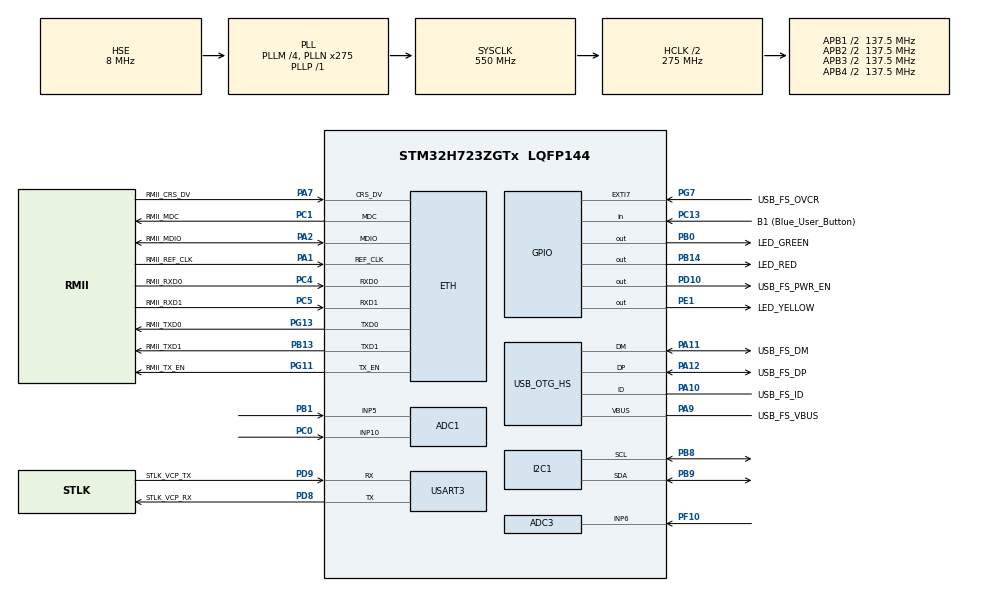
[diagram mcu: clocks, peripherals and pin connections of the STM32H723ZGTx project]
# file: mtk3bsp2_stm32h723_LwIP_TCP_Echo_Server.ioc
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ADC1.Channel-0\#ChannelRegularConversion=ADC_CHANNEL_5
ADC1.NbrOfConversionFlag=1
ADC1.OffsetNumber-0\#ChannelRegularConversion=ADC_OFFSET_NONE
ADC1.OffsetSignedSaturation-0\#ChannelRegularConversion=DISABLE
ADC1.Rank-0\#ChannelRegularConversion=1
ADC1.SamplingTime-0\#ChannelRegularConversion=ADC_SAMPLETIME_1CYCLE_5
ADC1.master=1
ADC3.Channel-0\#ChannelRegularConversion=ADC_CHANNEL_6
ADC3.NbrOfConversionFlag=1
ADC3.OffsetNumber-0\#ChannelRegularConversion=ADC_OFFSET_NONE
ADC3.OffsetSign-0\#ChannelRegularConversion=ADC3_OFFSET_SIGN_NEGATIVE
ADC3.Rank-0\#ChannelRegularConversion=1
ADC3.SamplingTime-0\#ChannelRegularConversion=ADC3_SAMPLETIME_2CYCLES_5
ETH.MediaInterface=HAL_ETH_RMII_MODE
I2C1.Timing=0x60404E72
Mcu.Family=STM32H7
Mcu.Name=STM32H723ZGTx
Mcu.Package=LQFP144
NVIC.ADC3_IRQn=true\:10\:0\:true\:false\:true\:true\:true\:true
NVIC.ADC_IRQn=true\:10\:0\:true\:false\:true\:true\:true\:true
NVIC.I2C1_ER_IRQn=true\:10\:0\:true\:false\:true\:true\:true\:true
NVIC.I2C1_EV_IRQn=true\:10\:0\:true\:false\:true\:true\:true\:true
NVIC.PriorityGroup=NVIC_PRIORITYGROUP_4
PA1.GPIO_Label=RMII_REF_CLK
PA1.Mode=RMII
PA1.Signal=ETH_REF_CLK
PA10.GPIO_Label=USB_FS_ID
PA10.Mode=OTG/Dual-Role-Device-FS
PA10.Signal=USB_OTG_HS_ID
PA11.GPIO_Label=USB_FS_DM
PA11.Mode=OTG/Dual-Role-Device-FS
PA11.Signal=USB_OTG_HS_DM
PA12.GPIO_Label=USB_FS_DP
PA12.Mode=OTG/Dual-Role-Device-FS
PA12.Signal=USB_OTG_HS_DP
PA13(JTMS/SWDIO).GPIO_Label=SWDIO
PA13(JTMS/SWDIO).Mode=Trace_Asynchronous_SW
PA13(JTMS/SWDIO).Signal=DEBUG_JTMS-SWDIO
PA14(JTCK/SWCLK).GPIO_Label=SWCLK
PA14(JTCK/SWCLK).Mode=Trace_Asynchronous_SW
PA14(JTCK/SWCLK).Signal=DEBUG_JTCK-SWCLK
PA2.GPIO_Label=RMII_MDIO
PA2.Mode=RMII
PA2.Signal=ETH_MDIO
PA7.GPIO_Label=RMII_CRS_DV
PA7.Mode=RMII
PA7.Signal=ETH_CRS_DV
PA9.GPIO_Label=USB_FS_VBUS
PA9.Mode=Activate_VBUS_FS
PA9.Signal=USB_OTG_HS_VBUS
PB0.GPIO_Label=LED_GREEN
PB0.Signal=GPIO_Output
PB1.Signal=ADCx_INP5
PB13.GPIO_Label=RMII_TXD1
PB13.Mode=RMII
PB13.Signal=ETH_TXD1
PB14.GPIO_Label=LED_RED
PB14.Signal=GPIO_Output
PB3(JTDO/TRACESWO).GPIO_Label=SWO
PB3(JTDO/TRACESWO).Mode=Trace_Asynchronous_SW
PB3(JTDO/TRACESWO).Signal=DEBUG_JTDO-SWO
PB8.Mode=I2C
PB8.Signal=I2C1_SCL
PB9.Mode=I2C
PB9.Signal=I2C1_SDA
PC0.Signal=ADCx_INP10
PC1.GPIO_Label=RMII_MDC
PC1.Mode=RMII
PC1.Signal=ETH_MDC
PC13.GPIO_Label=B1 (Blue_User_Button)
PC13.Signal=GPIO_Input
PC14-OSC32_IN.Mode=LSE-External-Oscillator
PC14-OSC32_IN.Signal=RCC_OSC32_IN
PC15-OSC32_OUT.Mode=LSE-External-Oscillator
PC15-OSC32_OUT.Signal=RCC_OSC32_OUT
PC4.GPIO_Label=RMII_RXD0
PC4.Mode=RMII
PC4.Signal=ETH_RXD0
PC5.GPIO_Label=RMII_RXD1
PC5.Mode=RMII
PC5.Signal=ETH_RXD1
PD10.GPIO_Label=USB_FS_PWR_EN
PD10.Signal=GPIO_Output
PD8.GPIO_Label=STLK_VCP_RX
PD8.Mode=Asynchronous
PD8.Signal=USART3_TX
PD9.GPIO_Label=STLK_VCP_TX
PD9.Mode=Asynchronous
PD9.Signal=USART3_RX
PE1.GPIO_Label=LED_YELLOW
PE1.Signal=GPIO_Output
PF10.Mode=IN6-Single-Ended
PF10.Signal=ADC3_INP6
PG11.GPIO_Label=RMII_TX_EN
PG11.Mode=RMII
PG11.Signal=ETH_TX_EN
PG13.GPIO_Label=RMII_TXD0
PG13.Mode=RMII
PG13.Signal=ETH_TXD0
PG7.GPIO_Label=USB_FS_OVCR
PG7.Signal=GPXTI7
PH0-OSC_IN.GPIO_Label=MCO
PH0-OSC_IN.Mode=HSE-External-Clock-Source
PH0-OSC_IN.Signal=RCC_OSC_IN
PH1-OSC_OUT.Signal=RCC_OSC_OUT
ProjectManager.HeapSize=0x200
ProjectManager.StackSize=0x400
ProjectManager.TargetToolchain=STM32CubeIDE
RCC.ADCFreq_Value=96000000
RCC.APB1Freq_Value=137500000
RCC.APB2Freq_Value=137500000
RCC.APB3Freq_Value=137500000
RCC.APB4Freq_Value=137500000
RCC.CortexFreq_Value=550000000
RCC.D1PPRE=RCC_APB3_DIV2
RCC.D2PPRE1=RCC_APB1_DIV2
RCC.D2PPRE2=RCC_APB2_DIV2
RCC.D3PPRE=RCC_APB4_DIV2
RCC.DIVM1=4
RCC.DIVM2=1
RCC.DIVN1=275
RCC.DIVN2=24
RCC.DIVP1=1
RCC.DIVQ1=4
RCC.HCLKFreq_Value=275000000
RCC.HPRE=RCC_HCLK_DIV2
RCC.HSE_VALUE=8000000
RCC.PLLFRACN=0
RCC.PLLSourceVirtual=RCC_PLLSOURCE_HSE
RCC.SYSCLKFreq_VALUE=550000000
RCC.SYSCLKSource=RCC_SYSCLKSOURCE_PLLCLK
RCC.USBCLockSelection=RCC_USBCLKSOURCE_HSI48
RCC.USBFreq_Value=48000000
SH.ADCx_INP10.0=ADC1_INP10,IN10-Single-Ended
SH.ADCx_INP5.0=ADC1_INP5,IN5-Single-Ended
USART3.VirtualMode-Asynchronous=VM_ASYNC
board=NUCLEO-H723ZG

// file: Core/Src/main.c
/* USER CODE BEGIN Header */
/**
  ******************************************************************************
  * @file           : main.c
  * @brief          : Main program body
  ******************************************************************************
  * @attention
  *
  * Copyright (c) 2024 STMicroelectronics.
  * All rights reserved.
  *
  * This software is licensed under terms that can be found in the LICENSE file
  * in the root directory of this software component.
  * If no LICENSE file comes with this software, it is provided AS-IS.
  *
  ******************************************************************************
  */
/* USER CODE END Header */
#include "main.h"
#include "string.h"

/* USER CODE BEGIN Includes */
#include "lwip/opt.h"
#include "lwip/init.h"
#include "netif/etharp.h"
#include "lwip/netif.h"
#include "lwip/timeouts.h"
#if LWIP_DHCP
#include "lwip/dhcp.h"
#endif
#include "ethernetif.h"
#include "main.h"
#include "app_ethernet.h"
#include "tcp_echoserver.h"
/* USER CODE END Includes */

#if defined ( __ICCARM__ ) /*!< IAR Compiler */
#pragma location=0x30000000
ETH_DMADescTypeDef  DMARxDscrTab[ETH_RX_DESC_CNT]; /* Ethernet Rx DMA Descriptors */
#pragma location=0x30000200
ETH_DMADescTypeDef  DMATxDscrTab[ETH_TX_DESC_CNT]; /* Ethernet Tx DMA Descriptors */

#elif defined ( __CC_ARM )  /* MDK ARM Compiler */

__attribute__((at(0x30000000))) ETH_DMADescTypeDef  DMARxDscrTab[ETH_RX_DESC_CNT]; /* Ethernet Rx DMA Descriptors */
__attribute__((at(0x30000200))) ETH_DMADescTypeDef  DMATxDscrTab[ETH_TX_DESC_CNT]; /* Ethernet Tx DMA Descriptors */

#elif defined ( __GNUC__ ) /* GNU Compiler */
//ETH_DMADescTypeDef DMARxDscrTab[ETH_RX_DESC_CNT] __attribute__((section(".RxDecripSection"))); /* Ethernet Rx DMA Descriptors */
//ETH_DMADescTypeDef DMATxDscrTab[ETH_TX_DESC_CNT] __attribute__((section(".TxDecripSection")));   /* Ethernet Tx DMA Descriptors */

#endif

//ETH_TxPacketConfig TxConfig;

ADC_HandleTypeDef hadc1;
ADC_HandleTypeDef hadc3;

ETH_HandleTypeDef heth;

I2C_HandleTypeDef hi2c1;

UART_HandleTypeDef huart3;

/* USER CODE BEGIN PV */
struct netif gnetif;
/* USER CODE END PV */

void SystemClock_Config(void);
void PeriphCommonClock_Config(void);
static void MX_GPIO_Init(void);
static void MX_ETH_Init(void);
static void MX_USART3_UART_Init(void);
static void MX_USB_OTG_HS_USB_Init(void);
static void MX_ADC1_Init(void);
static void MX_ADC3_Init(void);
static void MX_I2C1_Init(void);
/* USER CODE BEGIN PFP */
static void Netif_Config(void);
static void CPU_CACHE_Enable(void);
/* USER CODE END PFP */

/* USER CODE BEGIN 0 */
void knl_start_mtkernel(void);
/* USER CODE END 0 */

int main(void)
{
  /* USER CODE BEGIN 1 */
  /* Enable the CPU Cache */
  CPU_CACHE_Enable();
  /* USER CODE END 1 */

  /* MCU Configuration--------------------------------------------------------*/

  /* Reset of all peripherals, Initializes the Flash interface and the Systick. */
  HAL_Init();

  /* Configure the system clock */
  SystemClock_Config();

/* Configure the peripherals common clocks */
  PeriphCommonClock_Config();

  /* Initialize all configured peripherals */
  MX_GPIO_Init();
//  MX_ETH_Init();
  MX_USART3_UART_Init();
  MX_USB_OTG_HS_USB_Init();
  MX_ADC1_Init();
  MX_ADC3_Init();
  MX_I2C1_Init();
  /* USER CODE BEGIN 2 */
  /* Initialize the LwIP stack */
  lwip_init();

  /* Configure the Network interface */
  Netif_Config();

  /* TCP echo server Init */
  tcp_echoserver_init();

  while (1) {
	  /* Read a received packet from the Ethernet buffers and send it
		 to the lwIP for handling */
	  ethernetif_input(&gnetif);

	  /* Handle timeouts */
	  sys_check_timeouts();

#if LWIP_NETIF_LINK_CALLBACK
	  Ethernet_Link_Periodic_Handle(&gnetif);
#endif

#if LWIP_DHCP
	  DHCP_Periodic_Handle(&gnetif);
#endif
  }

  knl_start_mtkernel();
  /* USER CODE END 2 */

  /* Infinite loop */
  while (1)
  {

  }
}

void SystemClock_Config(void)
{
  RCC_OscInitTypeDef RCC_OscInitStruct = {0};
  RCC_ClkInitTypeDef RCC_ClkInitStruct = {0};

  /** Supply configuration update enable
  */
  HAL_PWREx_ConfigSupply(PWR_LDO_SUPPLY);

  /** Configure the main internal regulator output voltage
  */
  __HAL_PWR_VOLTAGESCALING_CONFIG(PWR_REGULATOR_VOLTAGE_SCALE0);

  while(!__HAL_PWR_GET_FLAG(PWR_FLAG_VOSRDY)) {}

  /** Initializes the RCC Oscillators according to the specified parameters
  * in the RCC_OscInitTypeDef structure.
  */
  RCC_OscInitStruct.OscillatorType = RCC_OSCILLATORTYPE_HSI48|RCC_OSCILLATORTYPE_HSE;
  RCC_OscInitStruct.HSEState = RCC_HSE_BYPASS;
  RCC_OscInitStruct.HSI48State = RCC_HSI48_ON;
  RCC_OscInitStruct.PLL.PLLState = RCC_PLL_ON;
  RCC_OscInitStruct.PLL.PLLSource = RCC_PLLSOURCE_HSE;
  RCC_OscInitStruct.PLL.PLLM = 4;
  RCC_OscInitStruct.PLL.PLLN = 275;
  RCC_OscInitStruct.PLL.PLLP = 1;
  RCC_OscInitStruct.PLL.PLLQ = 4;
  RCC_OscInitStruct.PLL.PLLR = 2;
  RCC_OscInitStruct.PLL.PLLRGE = RCC_PLL1VCIRANGE_1;
  RCC_OscInitStruct.PLL.PLLVCOSEL = RCC_PLL1VCOWIDE;
  RCC_OscInitStruct.PLL.PLLFRACN = 0;
  if (HAL_RCC_OscConfig(&RCC_OscInitStruct) != HAL_OK)
  {
    Error_Handler();
  }

  /** Initializes the CPU, AHB and APB buses clocks
  */
  RCC_ClkInitStruct.ClockType = RCC_CLOCKTYPE_HCLK|RCC_CLOCKTYPE_SYSCLK
                              |RCC_CLOCKTYPE_PCLK1|RCC_CLOCKTYPE_PCLK2
                              |RCC_CLOCKTYPE_D3PCLK1|RCC_CLOCKTYPE_D1PCLK1;
  RCC_ClkInitStruct.SYSCLKSource = RCC_SYSCLKSOURCE_PLLCLK;
  RCC_ClkInitStruct.SYSCLKDivider = RCC_SYSCLK_DIV1;
  RCC_ClkInitStruct.AHBCLKDivider = RCC_HCLK_DIV2;
  RCC_ClkInitStruct.APB3CLKDivider = RCC_APB3_DIV2;
  RCC_ClkInitStruct.APB1CLKDivider = RCC_APB1_DIV2;
  RCC_ClkInitStruct.APB2CLKDivider = RCC_APB2_DIV2;
  RCC_ClkInitStruct.APB4CLKDivider = RCC_APB4_DIV2;

  if (HAL_RCC_ClockConfig(&RCC_ClkInitStruct, FLASH_LATENCY_3) != HAL_OK)
  {
    Error_Handler();
  }
}

void PeriphCommonClock_Config(void)
{
  RCC_PeriphCLKInitTypeDef PeriphClkInitStruct = {0};

  /** Initializes the peripherals clock
  */
  PeriphClkInitStruct.PeriphClockSelection = RCC_PERIPHCLK_ADC;
  PeriphClkInitStruct.PLL2.PLL2M = 1;
  PeriphClkInitStruct.PLL2.PLL2N = 24;
  PeriphClkInitStruct.PLL2.PLL2P = 2;
  PeriphClkInitStruct.PLL2.PLL2Q = 2;
  PeriphClkInitStruct.PLL2.PLL2R = 2;
  PeriphClkInitStruct.PLL2.PLL2RGE = RCC_PLL2VCIRANGE_3;
  PeriphClkInitStruct.PLL2.PLL2VCOSEL = RCC_PLL2VCOWIDE;
  PeriphClkInitStruct.PLL2.PLL2FRACN = 0;
  PeriphClkInitStruct.AdcClockSelection = RCC_ADCCLKSOURCE_PLL2;
  if (HAL_RCCEx_PeriphCLKConfig(&PeriphClkInitStruct) != HAL_OK)
  {
    Error_Handler();
  }
}

static void MX_ADC1_Init(void)
{

  ADC_MultiModeTypeDef multimode = {0};
  ADC_ChannelConfTypeDef sConfig = {0};

  /** Common config
  */
  hadc1.Instance = ADC1;
  hadc1.Init.ClockPrescaler = ADC_CLOCK_ASYNC_DIV1;
  hadc1.Init.Resolution = ADC_RESOLUTION_16B;
  hadc1.Init.ScanConvMode = ADC_SCAN_DISABLE;
  hadc1.Init.EOCSelection = ADC_EOC_SINGLE_CONV;
  hadc1.Init.LowPowerAutoWait = DISABLE;
  hadc1.Init.ContinuousConvMode = DISABLE;
  hadc1.Init.NbrOfConversion = 1;
  hadc1.Init.DiscontinuousConvMode = DISABLE;
  hadc1.Init.ExternalTrigConv = ADC_SOFTWARE_START;
  hadc1.Init.ExternalTrigConvEdge = ADC_EXTERNALTRIGCONVEDGE_NONE;
  hadc1.Init.ConversionDataManagement = ADC_CONVERSIONDATA_DR;
  hadc1.Init.Overrun = ADC_OVR_DATA_PRESERVED;
  hadc1.Init.LeftBitShift = ADC_LEFTBITSHIFT_NONE;
  hadc1.Init.OversamplingMode = DISABLE;
  if (HAL_ADC_Init(&hadc1) != HAL_OK)
  {
    Error_Handler();
  }

  /** Configure the ADC multi-mode
  */
  multimode.Mode = ADC_MODE_INDEPENDENT;
  if (HAL_ADCEx_MultiModeConfigChannel(&hadc1, &multimode) != HAL_OK)
  {
    Error_Handler();
  }

  /** Configure Regular Channel
  */
  sConfig.Channel = ADC_CHANNEL_5;
  sConfig.Rank = ADC_REGULAR_RANK_1;
  sConfig.SamplingTime = ADC_SAMPLETIME_1CYCLE_5;
  sConfig.SingleDiff = ADC_SINGLE_ENDED;
  sConfig.OffsetNumber = ADC_OFFSET_NONE;
  sConfig.Offset = 0;
  sConfig.OffsetSignedSaturation = DISABLE;
  if (HAL_ADC_ConfigChannel(&hadc1, &sConfig) != HAL_OK)
  {
    Error_Handler();
  }

}

static void MX_ADC3_Init(void)
{

  ADC_ChannelConfTypeDef sConfig = {0};

  /** Common config
  */
  hadc3.Instance = ADC3;
  hadc3.Init.ClockPrescaler = ADC_CLOCK_ASYNC_DIV1;
  hadc3.Init.Resolution = ADC_RESOLUTION_12B;
  hadc3.Init.DataAlign = ADC3_DATAALIGN_RIGHT;
  hadc3.Init.ScanConvMode = ADC_SCAN_DISABLE;
  hadc3.Init.EOCSelection = ADC_EOC_SINGLE_CONV;
  hadc3.Init.LowPowerAutoWait = DISABLE;
  hadc3.Init.ContinuousConvMode = DISABLE;
  hadc3.Init.NbrOfConversion = 1;
  hadc3.Init.DiscontinuousConvMode = DISABLE;
  hadc3.Init.ExternalTrigConv = ADC_SOFTWARE_START;
  hadc3.Init.ExternalTrigConvEdge = ADC_EXTERNALTRIGCONVEDGE_NONE;
  hadc3.Init.DMAContinuousRequests = DISABLE;
  hadc3.Init.SamplingMode = ADC_SAMPLING_MODE_NORMAL;
  hadc3.Init.ConversionDataManagement = ADC_CONVERSIONDATA_DR;
  hadc3.Init.Overrun = ADC_OVR_DATA_PRESERVED;
  hadc3.Init.LeftBitShift = ADC_LEFTBITSHIFT_NONE;
  hadc3.Init.OversamplingMode = DISABLE;
  if (HAL_ADC_Init(&hadc3) != HAL_OK)
  {
    Error_Handler();
  }

  /** Configure Regular Channel
  */
  sConfig.Channel = ADC_CHANNEL_6;
  sConfig.Rank = ADC_REGULAR_RANK_1;
  sConfig.SamplingTime = ADC3_SAMPLETIME_2CYCLES_5;
  sConfig.SingleDiff = ADC_SINGLE_ENDED;
  sConfig.OffsetNumber = ADC_OFFSET_NONE;
  sConfig.Offset = 0;
  sConfig.OffsetSign = ADC3_OFFSET_SIGN_NEGATIVE;
  if (HAL_ADC_ConfigChannel(&hadc3, &sConfig) != HAL_OK)
  {
    Error_Handler();
  }

}

static void MX_ETH_Init(void)
{

   static uint8_t MACAddr[6];

  heth.Instance = ETH;
  MACAddr[0] = 0x00;
  MACAddr[1] = 0x80;
  MACAddr[2] = 0xE1;
  MACAddr[3] = 0x00;
  MACAddr[4] = 0x00;
  MACAddr[5] = 0x00;
  heth.Init.MACAddr = &MACAddr[0];
  heth.Init.MediaInterface = HAL_ETH_RMII_MODE;
//  heth.Init.TxDesc = DMATxDscrTab;
//  heth.Init.RxDesc = DMARxDscrTab;
  heth.Init.RxBuffLen = 1524;

  if (HAL_ETH_Init(&heth) != HAL_OK)
  {
    Error_Handler();
  }

  /*
  memset(&TxConfig, 0 , sizeof(ETH_TxPacketConfig));
  TxConfig.Attributes = ETH_TX_PACKETS_FEATURES_CSUM | ETH_TX_PACKETS_FEATURES_CRCPAD;
  TxConfig.ChecksumCtrl = ETH_CHECKSUM_IPHDR_PAYLOAD_INSERT_PHDR_CALC;
  TxConfig.CRCPadCtrl = ETH_CRC_PAD_INSERT;
  */

}

static void MX_I2C1_Init(void)
{

  hi2c1.Instance = I2C1;
  hi2c1.Init.Timing = 0x60404E72;
  hi2c1.Init.OwnAddress1 = 0;
  hi2c1.Init.AddressingMode = I2C_ADDRESSINGMODE_7BIT;
  hi2c1.Init.DualAddressMode = I2C_DUALADDRESS_DISABLE;
  hi2c1.Init.OwnAddress2 = 0;
  hi2c1.Init.OwnAddress2Masks = I2C_OA2_NOMASK;
  hi2c1.Init.GeneralCallMode = I2C_GENERALCALL_DISABLE;
  hi2c1.Init.NoStretchMode = I2C_NOSTRETCH_DISABLE;
  if (HAL_I2C_Init(&hi2c1) != HAL_OK)
  {
    Error_Handler();
  }

  /** Configure Analogue filter
  */
  if (HAL_I2CEx_ConfigAnalogFilter(&hi2c1, I2C_ANALOGFILTER_ENABLE) != HAL_OK)
  {
    Error_Handler();
  }

  /** Configure Digital filter
  */
  if (HAL_I2CEx_ConfigDigitalFilter(&hi2c1, 0) != HAL_OK)
  {
    Error_Handler();
  }

}

static void MX_USART3_UART_Init(void)
{

  huart3.Instance = USART3;
  huart3.Init.BaudRate = 115200;
  huart3.Init.WordLength = UART_WORDLENGTH_8B;
  huart3.Init.StopBits = UART_STOPBITS_1;
  huart3.Init.Parity = UART_PARITY_NONE;
  huart3.Init.Mode = UART_MODE_TX_RX;
  huart3.Init.HwFlowCtl = UART_HWCONTROL_NONE;
  huart3.Init.OverSampling = UART_OVERSAMPLING_16;
  huart3.Init.OneBitSampling = UART_ONE_BIT_SAMPLE_DISABLE;
  huart3.Init.ClockPrescaler = UART_PRESCALER_DIV1;
  huart3.AdvancedInit.AdvFeatureInit = UART_ADVFEATURE_NO_INIT;
  if (HAL_UART_Init(&huart3) != HAL_OK)
  {
    Error_Handler();
  }
  if (HAL_UARTEx_SetTxFifoThreshold(&huart3, UART_TXFIFO_THRESHOLD_1_8) != HAL_OK)
  {
    Error_Handler();
  }
  if (HAL_UARTEx_SetRxFifoThreshold(&huart3, UART_RXFIFO_THRESHOLD_1_8) != HAL_OK)
  {
    Error_Handler();
  }
  if (HAL_UARTEx_DisableFifoMode(&huart3) != HAL_OK)
  {
    Error_Handler();
  }

}

static void MX_USB_OTG_HS_USB_Init(void)
{

}

static void MX_GPIO_Init(void)
{
  GPIO_InitTypeDef GPIO_InitStruct = {0};

  /* GPIO Ports Clock Enable */
  __HAL_RCC_GPIOC_CLK_ENABLE();
  __HAL_RCC_GPIOF_CLK_ENABLE();
  __HAL_RCC_GPIOH_CLK_ENABLE();
  __HAL_RCC_GPIOA_CLK_ENABLE();
  __HAL_RCC_GPIOB_CLK_ENABLE();
  __HAL_RCC_GPIOD_CLK_ENABLE();
  __HAL_RCC_GPIOG_CLK_ENABLE();
  __HAL_RCC_GPIOE_CLK_ENABLE();

  /*Configure GPIO pin Output Level */
  HAL_GPIO_WritePin(GPIOB, LED_GREEN_Pin|LED_RED_Pin, GPIO_PIN_RESET);

  /*Configure GPIO pin Output Level */
  HAL_GPIO_WritePin(USB_FS_PWR_EN_GPIO_Port, USB_FS_PWR_EN_Pin, GPIO_PIN_RESET);

  /*Configure GPIO pin Output Level */
  HAL_GPIO_WritePin(LED_YELLOW_GPIO_Port, LED_YELLOW_Pin, GPIO_PIN_RESET);

  /*Configure GPIO pin : B1_Pin */
  GPIO_InitStruct.Pin = B1_Pin;
  GPIO_InitStruct.Mode = GPIO_MODE_INPUT;
  GPIO_InitStruct.Pull = GPIO_NOPULL;
  HAL_GPIO_Init(B1_GPIO_Port, &GPIO_InitStruct);

  /*Configure GPIO pins : LED_GREEN_Pin LED_RED_Pin */
  GPIO_InitStruct.Pin = LED_GREEN_Pin|LED_RED_Pin;
  GPIO_InitStruct.Mode = GPIO_MODE_OUTPUT_PP;
  GPIO_InitStruct.Pull = GPIO_NOPULL;
  GPIO_InitStruct.Speed = GPIO_SPEED_FREQ_LOW;
  HAL_GPIO_Init(GPIOB, &GPIO_InitStruct);

  /*Configure GPIO pin : USB_FS_PWR_EN_Pin */
  GPIO_InitStruct.Pin = USB_FS_PWR_EN_Pin;
  GPIO_InitStruct.Mode = GPIO_MODE_OUTPUT_PP;
  GPIO_InitStruct.Pull = GPIO_NOPULL;
  GPIO_InitStruct.Speed = GPIO_SPEED_FREQ_LOW;
  HAL_GPIO_Init(USB_FS_PWR_EN_GPIO_Port, &GPIO_InitStruct);

  /*Configure GPIO pin : USB_FS_OVCR_Pin */
  GPIO_InitStruct.Pin = USB_FS_OVCR_Pin;
  GPIO_InitStruct.Mode = GPIO_MODE_IT_RISING;
  GPIO_InitStruct.Pull = GPIO_NOPULL;
  HAL_GPIO_Init(USB_FS_OVCR_GPIO_Port, &GPIO_InitStruct);

  /*Configure GPIO pin : USB_FS_VBUS_Pin */
  GPIO_InitStruct.Pin = USB_FS_VBUS_Pin;
  GPIO_InitStruct.Mode = GPIO_MODE_INPUT;
  GPIO_InitStruct.Pull = GPIO_NOPULL;
  HAL_GPIO_Init(USB_FS_VBUS_GPIO_Port, &GPIO_InitStruct);

  /*Configure GPIO pin : USB_FS_ID_Pin */
  GPIO_InitStruct.Pin = USB_FS_ID_Pin;
  GPIO_InitStruct.Mode = GPIO_MODE_AF_PP;
  GPIO_InitStruct.Pull = GPIO_NOPULL;
  GPIO_InitStruct.Speed = GPIO_SPEED_FREQ_LOW;
  GPIO_InitStruct.Alternate = GPIO_AF10_OTG1_HS;
  HAL_GPIO_Init(USB_FS_ID_GPIO_Port, &GPIO_InitStruct);

  /*Configure GPIO pin : LED_YELLOW_Pin */
  GPIO_InitStruct.Pin = LED_YELLOW_Pin;
  GPIO_InitStruct.Mode = GPIO_MODE_OUTPUT_PP;
  GPIO_InitStruct.Pull = GPIO_NOPULL;
  GPIO_InitStruct.Speed = GPIO_SPEED_FREQ_LOW;
  HAL_GPIO_Init(LED_YELLOW_GPIO_Port, &GPIO_InitStruct);

}

/* USER CODE BEGIN 4 */
/**
  * @brief  Setup the network interface
  * @param  None
  * @retval None
  */
static void Netif_Config(void)
{
  ip_addr_t ipaddr;
  ip_addr_t netmask;
  ip_addr_t gw;

#if LWIP_DHCP
  ip_addr_set_zero_ip4(&ipaddr);
  ip_addr_set_zero_ip4(&netmask);
  ip_addr_set_zero_ip4(&gw);
#else

  /* IP address default setting */
  IP4_ADDR(&ipaddr, IP_ADDR0, IP_ADDR1, IP_ADDR2, IP_ADDR3);
  IP4_ADDR(&netmask, NETMASK_ADDR0, NETMASK_ADDR1 , NETMASK_ADDR2, NETMASK_ADDR3);
  IP4_ADDR(&gw, GW_ADDR0, GW_ADDR1, GW_ADDR2, GW_ADDR3);

#endif

  /* add the network interface */
  netif_add(&gnetif, &ipaddr, &netmask, &gw, NULL, &ethernetif_init, &ethernet_input);

  /*  Registers the default network interface */
  netif_set_default(&gnetif);

  ethernet_link_status_updated(&gnetif);

#if LWIP_NETIF_LINK_CALLBACK
  netif_set_link_callback(&gnetif, ethernet_link_status_updated);
#endif
}

/**
  * @brief  CPU L1-Cache enable.
  * @param  None
  * @retval None
  */
static void CPU_CACHE_Enable(void)
{
  /* Enable I-Cache */
  SCB_EnableICache();

  /* Enable D-Cache */
  SCB_EnableDCache();
}
/* USER CODE END 4 */

void Error_Handler(void)
{
  __disable_irq();
  while (1)
  {
  }
}
